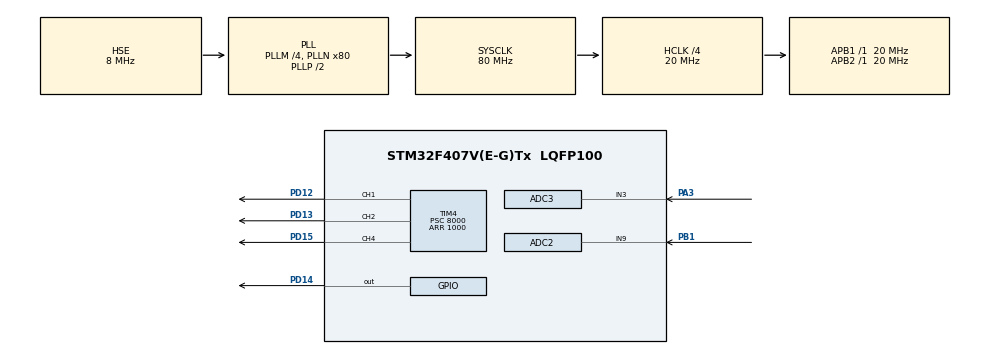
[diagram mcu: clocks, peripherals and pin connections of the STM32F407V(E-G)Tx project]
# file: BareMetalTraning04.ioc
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ADC1.Channel-0\#ChannelRegularConversion=ADC_CHANNEL_TEMPSENSOR
ADC1.ClockPrescaler=ADC_CLOCK_SYNC_PCLK_DIV8
ADC1.ContinuousConvMode=DISABLE
ADC1.InjNumberOfConversion=0
ADC1.NbrOfConversion=1
ADC1.NbrOfConversionFlag=1
ADC1.Rank-0\#ChannelRegularConversion=1
ADC1.SamplingTime-0\#ChannelRegularConversion=ADC_SAMPLETIME_480CYCLES
ADC1.ScanConvMode=ENABLE
ADC1.master=1
ADC2.Channel-1\#ChannelRegularConversion=ADC_CHANNEL_9
ADC2.ClockPrescaler=ADC_CLOCK_SYNC_PCLK_DIV8
ADC2.ContinuousConvMode=DISABLE
ADC2.NbrOfConversionFlag=1
ADC2.Rank-1\#ChannelRegularConversion=1
ADC2.SamplingTime-1\#ChannelRegularConversion=ADC_SAMPLETIME_480CYCLES
ADC2.ScanConvMode=ENABLE
ADC3.Channel-0\#ChannelRegularConversion=ADC_CHANNEL_3
ADC3.ClockPrescaler=ADC_CLOCK_SYNC_PCLK_DIV8
ADC3.InjNumberOfConversion=0
ADC3.NbrOfConversionFlag=1
ADC3.Rank-0\#ChannelRegularConversion=1
ADC3.SamplingTime-0\#ChannelRegularConversion=ADC_SAMPLETIME_480CYCLES
ADC3.ScanConvMode=ENABLE
Mcu.Family=STM32F4
Mcu.Name=STM32F407V(E-G)Tx
Mcu.Package=LQFP100
NVIC.PriorityGroup=NVIC_PRIORITYGROUP_4
PA13.Mode=Serial_Wire
PA13.Signal=SYS_JTMS-SWDIO
PA14.Mode=Serial_Wire
PA14.Signal=SYS_JTCK-SWCLK
PA3.Signal=ADCx_IN3
PB1.Signal=ADCx_IN9
PD12.GPIO_PuPd=GPIO_PULLDOWN
PD12.Signal=S_TIM4_CH1
PD13.GPIO_PuPd=GPIO_PULLDOWN
PD13.Signal=S_TIM4_CH2
PD14.GPIO_PuPd=GPIO_PULLDOWN
PD14.Signal=GPIO_Output
PD15.GPIO_PuPd=GPIO_PULLDOWN
PD15.Signal=S_TIM4_CH4
PH0-OSC_IN.Mode=HSE-External-Oscillator
PH0-OSC_IN.Signal=RCC_OSC_IN
PH1-OSC_OUT.Mode=HSE-External-Oscillator
PH1-OSC_OUT.Signal=RCC_OSC_OUT
ProjectManager.HeapSize=0x200
ProjectManager.StackSize=0x400
ProjectManager.TargetToolchain=STM32CubeIDE
RCC.48MHZClocksFreq_Value=40000000
RCC.AHBCLKDivider=RCC_SYSCLK_DIV4
RCC.AHBFreq_Value=20000000
RCC.APB1Freq_Value=20000000
RCC.APB1TimFreq_Value=20000000
RCC.APB2Freq_Value=20000000
RCC.APB2TimFreq_Value=20000000
RCC.CortexFreq_Value=20000000
RCC.HCLKFreq_Value=20000000
RCC.HSE_VALUE=8000000
RCC.HSI_VALUE=16000000
RCC.LSE_VALUE=32768
RCC.PLLM=4
RCC.PLLN=80
RCC.PLLSourceVirtual=RCC_PLLSOURCE_HSE
RCC.SYSCLKFreq_VALUE=80000000
RCC.SYSCLKSource=RCC_SYSCLKSOURCE_PLLCLK
RCC.VCOOutputFreq_Value=160000000
SH.ADCx_IN3.0=ADC3_IN3,IN3
SH.ADCx_IN9.0=ADC2_IN9,IN9
SH.S_TIM4_CH1.0=TIM4_CH1,PWM Generation1 CH1
SH.S_TIM4_CH2.0=TIM4_CH2,PWM Generation2 CH2
SH.S_TIM4_CH4.0=TIM4_CH4,PWM Generation4 CH4
TIM4.Channel-PWM\ Generation1\ CH1=TIM_CHANNEL_1
TIM4.Channel-PWM\ Generation2\ CH2=TIM_CHANNEL_2
TIM4.Channel-PWM\ Generation4\ CH4=TIM_CHANNEL_4
TIM4.Period=1000
TIM4.Prescaler=8000
TIM4.Pulse-PWM\ Generation2\ CH2=100
TIM4.Pulse-PWM\ Generation4\ CH4=100
VP_ADC1_TempSens_Input.Mode=IN-TempSens
board=custom

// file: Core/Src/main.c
/* USER CODE BEGIN Header */
/**
 ******************************************************************************
 * @file           : main.c
 * @brief          : Main program body
 ******************************************************************************
 * @attention
 *
 * Copyright (c) 2023 STMicroelectronics.
 * All rights reserved.
 *
 * This software is licensed under terms that can be found in the LICENSE file
 * in the root directory of this software component.
 * If no LICENSE file comes with this software, it is provided AS-IS.
 *
 ******************************************************************************
 */
/* USER CODE END Header */
#include "main.h"
#include "adc.h"
#include "tim.h"
#include "gpio.h"

/* USER CODE BEGIN Includes */
#include "tim4_pwm.h"
#define temp_high_mS1 500//period mS of red led blink if 1 error 500 equal 1Hz
#define temp_high_mS2 200//period mS of red led blink if 2 error 200 equal 2.5Hz
#define temp_high_mS3 100//period mS of red led blink if 3 error 100 equal 5Hz
#define green_led TIM_CHANNEL_1 //define led pin
#define orange_led TIM_CHANNEL_2
#define blue_led TIM_CHANNEL_4
#define red_led GPIO_PIN_14
/* USER CODE END Includes */

void SystemClock_Config(void);

/* USER CODE BEGIN 0 */
/*convert ADC value to percent, start value end value and ADC value
if start >end ADC start from 0% else ADC start from 100% and down. if ADC value > or < range we hew a 0% or 100% */
uint8_t ADC_to_percent(uint32_t start, uint32_t end, uint32_t ADC_in) {

	if (start > end && end < ADC_in) {
		if (ADC_in >= start) {
			return (0);
		} else {
			return (100 - (((ADC_in - end) * 100) / (start - end)));
		}
	}

	if (start < ADC_in && end > start) {
		if (ADC_in >= end) {
			return (100);
		} else {
			return (((ADC_in - start) * 100) / (end - start));
		}

	}
	if(start > end && ADC_in<end)
	{return (100);}
	return 0;
}
;
/* USER CODE END 0 */

int main(void)
{
  /* USER CODE BEGIN 1 */

	uint32_t start_adc_val[3]; //start ADC range
	uint32_t end_adc_val[3];//end ADC range
	uint32_t trig_val[3];// value when start emergency citation
	uint32_t hist_percent[3]; //Hysteresis percent
	uint32_t adcValue[3] = { 0 };
	uint32_t histereis[3]; //hysteresis value
	/*internal temp sensor*/
	start_adc_val[0] = 1050;
	end_adc_val[0] = 1095;
	trig_val[0] = 1100;

	/*PORTB1 temp sensor*/
	start_adc_val[1] = 2270;
	end_adc_val[1] = 400;
	trig_val[1] = 450;

	/*PORT A3 potentiometer */
	start_adc_val[2] = 0;
	end_adc_val[2] = 4090;
	trig_val[2] = 3000;

	/*	setup hysteresis*/
	hist_percent[0] = 10;
	hist_percent[1] = 1;
	hist_percent[2] = 1;

	histereis[0] = ((end_adc_val[0] - start_adc_val[0]) / 100)* hist_percent[0];
	histereis[1] = ((start_adc_val[1] - end_adc_val[1]) / 100)* hist_percent[1];
	histereis[2] = ((end_adc_val[2] - start_adc_val[2]) / 100)* hist_percent[2];

	uint8_t RedLedBlink; //red led blink mode

  /* USER CODE END 1 */

  /* MCU Configuration--------------------------------------------------------*/

  /* Reset of all peripherals, Initializes the Flash interface and the Systick. */
  HAL_Init();

  /* Configure the system clock */
  SystemClock_Config();

  /* Initialize all configured peripherals */
  MX_GPIO_Init();
  MX_ADC1_Init();
  MX_ADC2_Init();
  MX_TIM4_Init();
  MX_ADC3_Init();
  /* USER CODE BEGIN 2 */
	_Tim_init();

	volatile HAL_StatusTypeDef adcPoolResult1, adcPoolResult2, adcPoolResult3;
	uint32_t lastTick = 0, maxTick = 0;
  /* USER CODE END 2 */

  /* Infinite loop */
  /* USER CODE BEGIN WHILE */
	while (1) {
/*		initialize and read ADC*/
		HAL_ADC_Start(&hadc1);
		HAL_ADC_Start(&hadc2);
		HAL_ADC_Start(&hadc3);
		adcPoolResult1 = HAL_ADC_PollForConversion(&hadc1, 100);
		adcPoolResult2 = HAL_ADC_PollForConversion(&hadc2, 100);
		adcPoolResult3 = HAL_ADC_PollForConversion(&hadc3, 100);
		if (adcPoolResult1 == HAL_OK) {
			adcValue[0] = HAL_ADC_GetValue(&hadc1);
		}
		if (adcPoolResult2 == HAL_OK) {
			adcValue[1] = HAL_ADC_GetValue(&hadc2);
		}
		if (adcPoolResult3 == HAL_OK) {
			adcValue[2] = HAL_ADC_GetValue(&hadc3);
		}
/*check how many “emergency citation” we hew*/
		RedLedBlink = 0;
		for (uint8_t i = 0; i < 3; i++) {

			if (start_adc_val[i] > end_adc_val[i])
			{
				if (adcValue[i] <= trig_val[i] + histereis[i])
				{
					RedLedBlink++;
				}
			} else if (adcValue[i] >= trig_val[i] + histereis[i]) {
				RedLedBlink++;
			}
		}
/*convert ADC value to percent and set PWM duty cycle */
		uint8_t prst0 = ADC_to_percent(start_adc_val[0], end_adc_val[0],
				adcValue[0]);
		_Tim_set_timer(orange_led, prst0, 1000);
		uint8_t prst1 = ADC_to_percent(start_adc_val[1], end_adc_val[1],
				adcValue[1]);
		_Tim_set_timer(green_led, prst1, 1000);
		uint8_t prst2 = ADC_to_percent(start_adc_val[2], end_adc_val[2],
				adcValue[2]);
		_Tim_set_timer(blue_led, prst2, 1000);

	/*check if  “emergency citation” 	*/
		if (RedLedBlink != 0) { /*if yes setup blink time and blink*/
			if (HAL_GetTick() - lastTick >= maxTick) {

				switch (RedLedBlink) {
				case (1):
					maxTick = temp_high_mS1;
					break;
				case (2):
					maxTick = temp_high_mS2;
					break;
				case (3):
					maxTick = temp_high_mS3;
					break;

				default:
					Error_Handler();
				}
				lastTick = HAL_GetTick();
				HAL_GPIO_TogglePin(GPIOD, red_led);
			}
		} else {
			HAL_GPIO_WritePin(GPIOD, red_led, GPIO_PIN_RESET);
		}

    /* USER CODE END WHILE */

	}
}

void SystemClock_Config(void)
{
  RCC_OscInitTypeDef RCC_OscInitStruct = {0};
  RCC_ClkInitTypeDef RCC_ClkInitStruct = {0};

  /** Configure the main internal regulator output voltage
  */
  __HAL_RCC_PWR_CLK_ENABLE();
  __HAL_PWR_VOLTAGESCALING_CONFIG(PWR_REGULATOR_VOLTAGE_SCALE1);

  /** Initializes the RCC Oscillators according to the specified parameters
  * in the RCC_OscInitTypeDef structure.
  */
  RCC_OscInitStruct.OscillatorType = RCC_OSCILLATORTYPE_HSE;
  RCC_OscInitStruct.HSEState = RCC_HSE_ON;
  RCC_OscInitStruct.PLL.PLLState = RCC_PLL_ON;
  RCC_OscInitStruct.PLL.PLLSource = RCC_PLLSOURCE_HSE;
  RCC_OscInitStruct.PLL.PLLM = 4;
  RCC_OscInitStruct.PLL.PLLN = 80;
  RCC_OscInitStruct.PLL.PLLP = RCC_PLLP_DIV2;
  RCC_OscInitStruct.PLL.PLLQ = 4;
  if (HAL_RCC_OscConfig(&RCC_OscInitStruct) != HAL_OK)
  {
    Error_Handler();
  }

  /** Initializes the CPU, AHB and APB buses clocks
  */
  RCC_ClkInitStruct.ClockType = RCC_CLOCKTYPE_HCLK|RCC_CLOCKTYPE_SYSCLK
                              |RCC_CLOCKTYPE_PCLK1|RCC_CLOCKTYPE_PCLK2;
  RCC_ClkInitStruct.SYSCLKSource = RCC_SYSCLKSOURCE_PLLCLK;
  RCC_ClkInitStruct.AHBCLKDivider = RCC_SYSCLK_DIV4;
  RCC_ClkInitStruct.APB1CLKDivider = RCC_HCLK_DIV1;
  RCC_ClkInitStruct.APB2CLKDivider = RCC_HCLK_DIV1;

  if (HAL_RCC_ClockConfig(&RCC_ClkInitStruct, FLASH_LATENCY_0) != HAL_OK)
  {
    Error_Handler();
  }
}

void Error_Handler(void)
{
	__disable_irq();
	while (1) {
	}
}
